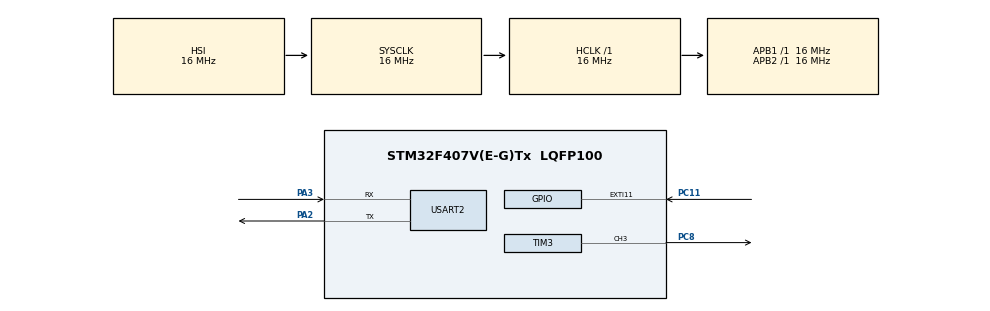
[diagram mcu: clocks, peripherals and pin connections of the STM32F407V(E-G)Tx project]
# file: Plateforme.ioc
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Mcu.Family=STM32F4
Mcu.Name=STM32F407V(E-G)Tx
Mcu.Package=LQFP100
NVIC.EXTI15_10_IRQn=true\:0\:0\:true\:false\:true\:true\:true
NVIC.PriorityGroup=NVIC_PRIORITYGROUP_4
NVIC.TIM3_IRQn=true\:0\:0\:false\:false\:true\:true\:true
NVIC.USART2_IRQn=true\:0\:0\:false\:false\:true\:true\:true
PA2.Mode=Asynchronous
PA2.Signal=USART2_TX
PA3.Mode=Asynchronous
PA3.Signal=USART2_RX
PC11.GPIO_ModeDefaultEXTI=GPIO_MODE_IT_FALLING
PC11.Signal=GPXTI11
PC14-OSC32_IN.Mode=LSE-External-Oscillator
PC14-OSC32_IN.Signal=RCC_OSC32_IN
PC15-OSC32_OUT.Mode=LSE-External-Oscillator
PC15-OSC32_OUT.Signal=RCC_OSC32_OUT
PC8.Signal=S_TIM3_CH3
PH0-OSC_IN.Mode=HSE-External-Oscillator
PH0-OSC_IN.Signal=RCC_OSC_IN
PH1-OSC_OUT.Mode=HSE-External-Oscillator
PH1-OSC_OUT.Signal=RCC_OSC_OUT
ProjectManager.HeapSize=0x200
ProjectManager.StackSize=0x400
ProjectManager.TargetToolchain=SW4STM32
RCC.48MHZClocksFreq_Value=75000000
RCC.AHBFreq_Value=16000000
RCC.APB1Freq_Value=16000000
RCC.APB1TimFreq_Value=16000000
RCC.APB2Freq_Value=16000000
RCC.APB2TimFreq_Value=16000000
RCC.CortexFreq_Value=16000000
RCC.HCLKFreq_Value=16000000
RCC.HSE_VALUE=25000000
RCC.HSI_VALUE=16000000
RCC.PLLP=RCC_PLLP_DIV6
RCC.PLLSourceVirtual=RCC_PLLSOURCE_HSE
RCC.SYSCLKFreq_VALUE=16000000
RCC.VCOOutputFreq_Value=300000000
SH.S_TIM3_CH3.0=TIM3_CH3,PWM Generation3 CH3
TIM3.Channel-PWM\ Generation3\ CH3=TIM_CHANNEL_3
USART2.OverSampling=UART_OVERSAMPLING_8
USART2.VirtualMode=VM_ASYNC
board=custom

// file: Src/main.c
/* USER CODE BEGIN Header */
/**
 ******************************************************************************
 * @file           : main.c
 * @brief          : Main program body
 ******************************************************************************
 ** This notice applies to any and all portions of this file
 * that are not between comment pairs USER CODE BEGIN and
 * USER CODE END. Other portions of this file, whether
 * inserted by the user or by software development tools
 * are owned by their respective copyright owners.
 *
 * COPYRIGHT(c) 2019 STMicroelectronics
 *
 * Redistribution and use in source and binary forms, with or without modification,
 * are permitted provided that the following conditions are met:
 *   1. Redistributions of source code must retain the above copyright notice,
 *      this list of conditions and the following disclaimer.
 *   2. Redistributions in binary form must reproduce the above copyright notice,
 *      this list of conditions and the following disclaimer in the documentation
 *      and/or other materials provided with the distribution.
 *   3. Neither the name of STMicroelectronics nor the names of its contributors
 *      may be used to endorse or promote products derived from this software
 *      without specific prior written permission.
 *
 * THIS SOFTWARE IS PROVIDED BY THE COPYRIGHT HOLDERS AND CONTRIBUTORS "AS IS"
 * AND ANY EXPRESS OR IMPLIED WARRANTIES, INCLUDING, BUT NOT LIMITED TO, THE
 * IMPLIED WARRANTIES OF MERCHANTABILITY AND FITNESS FOR A PARTICULAR PURPOSE ARE
 * DISCLAIMED. IN NO EVENT SHALL THE COPYRIGHT HOLDER OR CONTRIBUTORS BE LIABLE
 * FOR ANY DIRECT, INDIRECT, INCIDENTAL, SPECIAL, EXEMPLARY, OR CONSEQUENTIAL
 * DAMAGES (INCLUDING, BUT NOT LIMITED TO, PROCUREMENT OF SUBSTITUTE GOODS OR
 * SERVICES; LOSS OF USE, DATA, OR PROFITS; OR BUSINESS INTERRUPTION) HOWEVER
 * CAUSED AND ON ANY THEORY OF LIABILITY, WHETHER IN CONTRACT, STRICT LIABILITY,
 * OR TORT (INCLUDING NEGLIGENCE OR OTHERWISE) ARISING IN ANY WAY OUT OF THE USE
 * OF THIS SOFTWARE, EVEN IF ADVISED OF THE POSSIBILITY OF SUCH DAMAGE.
 *
 ******************************************************************************
 */
/* USER CODE END Header */

#include "main.h"

/* USER CODE BEGIN Includes */
#include "configuration.h"
/* USER CODE END Includes */

/* USER CODE BEGIN PD */
#define SENS_PIN	GPIO_PIN_0
#define ENABLE_PIN	GPIO_PIN_7
#define PWM_PIN		GPIO_PIN_8

#define DISABLE_MOTOR	HAL_GPIO_WritePin(GPIOD,ENABLE_PIN,1);
#define ENABLE_MOTOR	HAL_GPIO_WritePin(GPIOD,ENABLE_PIN,0);

/* USER CODE END PD */

TIM_HandleTypeDef htim3;

UART_HandleTypeDef huart2;

/* USER CODE BEGIN PV */
UART_HandleTypeDef UART_Handle;
TIM_HandleTypeDef TIM_Handle;
TIM_OC_InitTypeDef PWM_Handle;
unsigned char data = 0;
unsigned char  data_receive=0;
unsigned int counter = 0;

/* USER CODE END PV */

void SystemClock_Config(void);
static void MX_GPIO_Init(void);
static void MX_USART2_UART_Init(void);
static void MX_TIM3_Init(void);
/* USER CODE BEGIN PFP */

/*void EXTI15_10_IRQHandler(void)
{
	/* USER CODE BEGIN EXTI0_IRQn 0 */
//counter++;
/* USER CODE END EXTI0_IRQn 0 */
//HAL_GPIO_EXTI_IRQHandler(GPIO_PIN_11);
/* USER CODE BEGIN EXTI0_IRQn 1 */

/* USER CODE END EXTI0_IRQn 1 */

//}

void HAL_GPIO_EXTI_Callback(uint16_t GPIO_Pin)
{
	if ( GPIO_Pin == GPIO_PIN_11)
	{
		counter++;
	}
}
/* USER CODE END PFP */

int main(void)
{

	/* MCU Configuration--------------------------------------------------------*/

	/* Reset of all peripherals, Initializes the Flash interface and the Systick. */
	HAL_Init();

	/* USER CODE BEGIN Init */
	GPIO_Configuration(GPIOD, GPIO_MODE_OUTPUT_PP, ENABLE_PIN);
	GPIO_Configuration(GPIOB, GPIO_MODE_OUTPUT_PP, SENS_PIN);

	/* USER CODE END Init */

	/* Configure the system clock */
	SystemClock_Config();

	/* Initialize all configured peripherals */
	MX_GPIO_Init();
	MX_USART2_UART_Init();
	MX_TIM3_Init();
	/* USER CODE BEGIN 2 */

	GPIO_Configuration_Alternate(GPIOC, GPIO_MODE_AF_PP, GPIO_PIN_8,GPIO_AF2_TIM3);
	//GPIO_Configuration(LED_PORT, GPIO_MODE_OUTPUT_PP, LED_ALL);
	Timer_Config(&TIM_Handle, TIM3, 0, 4000);

	Timer_Mode_PWM_Config(&TIM_Handle, &PWM_Handle, TIM_OCMODE_PWM2, TIM_OCPOLARITY_HIGH);

	HAL_UART_Receive_IT(&huart2, &data, 1);
	Timer_PWM_Pulse_Channel(&TIM_Handle, &PWM_Handle, TIM_CHANNEL_3, 0);
	HAL_TIM_PWM_Start(&htim3, TIM_CHANNEL_3);
	HAL_GPIO_WritePin(GPIOB,SENS_PIN,1);
	DISABLE_MOTOR;

	unsigned char data_send = 90;
	/* USER CODE END 2 */

	/* Infinite loop */
	while (1)
	{

		/* USER CODE BEGIN 3 */
		if(data){
			Timer_PWM_Pulse_Channel(&TIM_Handle, &PWM_Handle, TIM_CHANNEL_3, 3000);
			HAL_TIM_PWM_Start(&htim3, TIM_CHANNEL_3);
			counter = 0;
			data = 0;
			ENABLE_MOTOR;
			while(counter != 64);	//64
			Timer_PWM_Pulse_Channel(&TIM_Handle, &PWM_Handle, TIM_CHANNEL_3, 0);
			HAL_TIM_PWM_Start(&htim3, TIM_CHANNEL_3);
			ENABLE_MOTOR;
			HAL_UART_Transmit(&huart2, &data_send, 1, 10);

		}
		ENABLE_MOTOR;
		//HAL_UART_Transmit(&huart2, &data_send, 1, 10);

	}
	/* USER CODE END 3 */
}

void SystemClock_Config(void)
{
	RCC_OscInitTypeDef RCC_OscInitStruct = {0};
	RCC_ClkInitTypeDef RCC_ClkInitStruct = {0};

	/** Configure the main internal regulator output voltage
	 */
	__HAL_RCC_PWR_CLK_ENABLE();
	__HAL_PWR_VOLTAGESCALING_CONFIG(PWR_REGULATOR_VOLTAGE_SCALE1);
	/** Initializes the CPU, AHB and APB busses clocks
	 */
	RCC_OscInitStruct.OscillatorType = RCC_OSCILLATORTYPE_HSI;
	RCC_OscInitStruct.HSIState = RCC_HSI_ON;
	RCC_OscInitStruct.HSICalibrationValue = RCC_HSICALIBRATION_DEFAULT;
	RCC_OscInitStruct.PLL.PLLState = RCC_PLL_NONE;
	if (HAL_RCC_OscConfig(&RCC_OscInitStruct) != HAL_OK)
	{
		Error_Handler();
	}
	/** Initializes the CPU, AHB and APB busses clocks
	 */
	RCC_ClkInitStruct.ClockType = RCC_CLOCKTYPE_HCLK|RCC_CLOCKTYPE_SYSCLK
			|RCC_CLOCKTYPE_PCLK1|RCC_CLOCKTYPE_PCLK2;
	RCC_ClkInitStruct.SYSCLKSource = RCC_SYSCLKSOURCE_HSI;
	RCC_ClkInitStruct.AHBCLKDivider = RCC_SYSCLK_DIV1;
	RCC_ClkInitStruct.APB1CLKDivider = RCC_HCLK_DIV1;
	RCC_ClkInitStruct.APB2CLKDivider = RCC_HCLK_DIV1;

	if (HAL_RCC_ClockConfig(&RCC_ClkInitStruct, FLASH_LATENCY_0) != HAL_OK)
	{
		Error_Handler();
	}
}

static void MX_TIM3_Init(void)
{

	TIM_MasterConfigTypeDef sMasterConfig = {0};
	TIM_OC_InitTypeDef sConfigOC = {0};

	htim3.Instance = TIM3;
	htim3.Init.Prescaler = 0;
	htim3.Init.CounterMode = TIM_COUNTERMODE_UP;
	htim3.Init.Period = 0;
	htim3.Init.ClockDivision = TIM_CLOCKDIVISION_DIV1;
	htim3.Init.AutoReloadPreload = TIM_AUTORELOAD_PRELOAD_DISABLE;
	if (HAL_TIM_PWM_Init(&htim3) != HAL_OK)
	{
		Error_Handler();
	}
	sMasterConfig.MasterOutputTrigger = TIM_TRGO_RESET;
	sMasterConfig.MasterSlaveMode = TIM_MASTERSLAVEMODE_DISABLE;
	if (HAL_TIMEx_MasterConfigSynchronization(&htim3, &sMasterConfig) != HAL_OK)
	{
		Error_Handler();
	}
	sConfigOC.OCMode = TIM_OCMODE_PWM1;
	sConfigOC.Pulse = 0;
	sConfigOC.OCPolarity = TIM_OCPOLARITY_HIGH;
	sConfigOC.OCFastMode = TIM_OCFAST_DISABLE;
	if (HAL_TIM_PWM_ConfigChannel(&htim3, &sConfigOC, TIM_CHANNEL_3) != HAL_OK)
	{
		Error_Handler();
	}
	HAL_TIM_MspPostInit(&htim3);

}

static void MX_USART2_UART_Init(void)
{

	huart2.Instance = USART2;
	huart2.Init.BaudRate = 115200;
	huart2.Init.WordLength = UART_WORDLENGTH_8B;
	huart2.Init.StopBits = UART_STOPBITS_1;
	huart2.Init.Parity = UART_PARITY_NONE;
	huart2.Init.Mode = UART_MODE_TX_RX;
	huart2.Init.HwFlowCtl = UART_HWCONTROL_NONE;
	huart2.Init.OverSampling = UART_OVERSAMPLING_8;
	if (HAL_UART_Init(&huart2) != HAL_OK)
	{
		Error_Handler();
	}

}

static void MX_GPIO_Init(void)
{
	GPIO_InitTypeDef GPIO_InitStruct = {0};

	/* GPIO Ports Clock Enable */
	__HAL_RCC_GPIOC_CLK_ENABLE();
	__HAL_RCC_GPIOH_CLK_ENABLE();
	__HAL_RCC_GPIOA_CLK_ENABLE();

	/*Configure GPIO pin : PC11 */
	GPIO_InitStruct.Pin = GPIO_PIN_11;
	GPIO_InitStruct.Mode = GPIO_MODE_IT_FALLING;
	GPIO_InitStruct.Pull = GPIO_NOPULL;
	HAL_GPIO_Init(GPIOC, &GPIO_InitStruct);

	/* EXTI interrupt init*/
	HAL_NVIC_SetPriority(EXTI15_10_IRQn, 0, 0);
	HAL_NVIC_EnableIRQ(EXTI15_10_IRQn);

}

/* USER CODE BEGIN 4 */
void HAL_UART_RxCpltCallback(UART_HandleTypeDef *huart){
	if(huart == &huart2){
		//HAL_UART_Transmit(&UART_Handle, &data, 1, 10);
		data_receive = 1;
	}
	HAL_UART_Receive_IT(&huart2, &data, 1);
}

/* USER CODE END 4 */

void Error_Handler(void)
{
}

/************************ (C) COPYRIGHT STMicroelectronics *****END OF FILE****/
